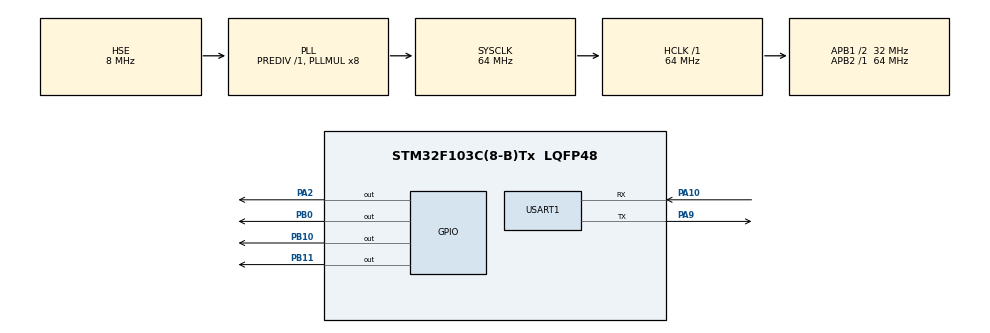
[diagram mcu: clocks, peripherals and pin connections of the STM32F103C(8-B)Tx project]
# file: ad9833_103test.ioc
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Mcu.Family=STM32F1
Mcu.Name=STM32F103C(8-B)Tx
Mcu.Package=LQFP48
NVIC.PriorityGroup=NVIC_PRIORITYGROUP_4
NVIC.USART1_IRQn=true\:0\:0\:false\:false\:true\:true\:true\:true
PA10.Mode=Asynchronous
PA10.Signal=USART1_RX
PA13.Mode=Serial_Wire
PA13.Signal=SYS_JTMS-SWDIO
PA14.Mode=Serial_Wire
PA14.Signal=SYS_JTCK-SWCLK
PA2.Signal=GPIO_Output
PA9.Mode=Asynchronous
PA9.Signal=USART1_TX
PB0.Signal=GPIO_Output
PB10.Signal=GPIO_Output
PB11.Signal=GPIO_Output
PD0-OSC_IN.Mode=HSE-External-Oscillator
PD0-OSC_IN.Signal=RCC_OSC_IN
PD1-OSC_OUT.Mode=HSE-External-Oscillator
PD1-OSC_OUT.Signal=RCC_OSC_OUT
ProjectManager.HeapSize=0x200
ProjectManager.StackSize=0x400
ProjectManager.TargetToolchain=MDK-ARM V5.32
RCC.AHBFreq_Value=64000000
RCC.APB1CLKDivider=RCC_HCLK_DIV2
RCC.APB1Freq_Value=32000000
RCC.APB1TimFreq_Value=64000000
RCC.APB2Freq_Value=64000000
RCC.APB2TimFreq_Value=64000000
RCC.HCLKFreq_Value=64000000
RCC.PLLMUL=RCC_PLL_MUL8
RCC.PLLSourceVirtual=RCC_PLLSOURCE_HSE
RCC.SYSCLKFreq_VALUE=64000000
RCC.SYSCLKSource=RCC_SYSCLKSOURCE_PLLCLK
RCC.USBFreq_Value=64000000
USART1.VirtualMode=VM_ASYNC
board=custom

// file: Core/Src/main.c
/* USER CODE BEGIN Header */
/**
 ******************************************************************************
 * @file           : main.c
 * @brief          : Main program body
 ******************************************************************************
 * @attention
 *
 * Copyright (c) 2023 STMicroelectronics.
 * All rights reserved.
 *
 * This software is licensed under terms that can be found in the LICENSE file
 * in the root directory of this software component.
 * If no LICENSE file comes with this software, it is provided AS-IS.
 *
 ******************************************************************************
 */
/* USER CODE END Header */
#include "main.h"
#include "usart.h"
#include "gpio.h"

/* USER CODE BEGIN Includes */
#include "stdio.h"
#include "ad9833.h"

/* USER CODE END Includes */

/* USER CODE BEGIN PM */
int fputc(int ch, FILE *f)

{

  HAL_UART_Transmit(&huart1, (uint8_t *)&ch, 1, 0xffff);

  return ch;
}

int fgetc(FILE *f)
{
  uint8_t ch = 0;
  HAL_UART_Receive(&huart1, &ch, 1, 0xffff);
  return ch;
}

/* USER CODE END PM */

/* USER CODE BEGIN PV */
uint32_t rx_data[10];
uint32_t buf[1];
int num = 0;
int flag = 0;
int i = 0;
uint32_t freq1, freq2, phase1, phase2, wave1, wave2, flag2;

/* USER CODE END PV */

void SystemClock_Config(void);

int main(void)
{

  /* MCU Configuration--------------------------------------------------------*/

  /* Reset of all peripherals, Initializes the Flash interface and the Systick. */
  HAL_Init();

  /* Configure the system clock */
  SystemClock_Config();

  /* Initialize all configured peripherals */
  MX_GPIO_Init();
  MX_USART1_UART_Init();
  /* USER CODE BEGIN 2 */
  // HAL_UART_Receive_IT(&huart1, (uint8_t *)buf, 1);
  /*******************************************************************************************************/
  // printf("10000\n");

  AD9833_WaveSeting_Double(10000, 10000, 0, SIN_WAVE, SIN_WAVE, 0, 1920);
  // AD9833_WaveSeting_Double(500000,0,SIN_WAVE,1030);
  /* USER CODE END 2 */

  /* Infinite loop */
  while (1)
  {

    /* USER CODE BEGIN 3 */
    // printf("test\r\n");
    /*
    if(flag == 1){
      freq = (rx_data[3]-48)* 1000000 + (rx_data[4]-48)* 100000 + (rx_data[5]-48)* 10000 + (rx_data[6]-48)* 1000 + (rx_data[7]-48)* 100 + (rx_data[8]-48)* 10 + (rx_data[9]-48)* 1;
      AD9833_WaveSeting_Double(500000,0,SIN_WAVE,1030);
      printf("9833,����!\r\n");
      printf("freq = %d\r\n", freq);
      for(int j = 0; j<100000 ; j++);
      HAL_UART_Receive_IT(&huart1, (uint8_t *)buf, 1);
      flag = 0;
    }*/

    /******************************************************************************************************/

    // printf("load\r\n");
    scanf("%d", &flag2);
    if (flag2 == 0xff)
    {
      scanf("%d", &freq1);
      scanf("%d", &freq2);
      scanf("%d", &wave1);
      scanf("%d", &wave2);
      scanf("%d", &phase1);
      scanf("%d", &phase2);
      AD9833_WaveSeting_Double(freq1, freq2, 0, wave1, wave2, phase1, phase2);
    }
    // printf("freq = %d", freq);
  }

  /* USER CODE END 3 */
}

void SystemClock_Config(void)
{
  RCC_OscInitTypeDef RCC_OscInitStruct = {0};
  RCC_ClkInitTypeDef RCC_ClkInitStruct = {0};

  /** Initializes the RCC Oscillators according to the specified parameters
   * in the RCC_OscInitTypeDef structure.
   */
  RCC_OscInitStruct.OscillatorType = RCC_OSCILLATORTYPE_HSE;
  RCC_OscInitStruct.HSEState = RCC_HSE_ON;
  RCC_OscInitStruct.HSEPredivValue = RCC_HSE_PREDIV_DIV1;
  RCC_OscInitStruct.HSIState = RCC_HSI_ON;
  RCC_OscInitStruct.PLL.PLLState = RCC_PLL_ON;
  RCC_OscInitStruct.PLL.PLLSource = RCC_PLLSOURCE_HSE;
  RCC_OscInitStruct.PLL.PLLMUL = RCC_PLL_MUL8;
  if (HAL_RCC_OscConfig(&RCC_OscInitStruct) != HAL_OK)
  {
    Error_Handler();
  }

  /** Initializes the CPU, AHB and APB buses clocks
   */
  RCC_ClkInitStruct.ClockType = RCC_CLOCKTYPE_HCLK | RCC_CLOCKTYPE_SYSCLK | RCC_CLOCKTYPE_PCLK1 | RCC_CLOCKTYPE_PCLK2;
  RCC_ClkInitStruct.SYSCLKSource = RCC_SYSCLKSOURCE_PLLCLK;
  RCC_ClkInitStruct.AHBCLKDivider = RCC_SYSCLK_DIV1;
  RCC_ClkInitStruct.APB1CLKDivider = RCC_HCLK_DIV2;
  RCC_ClkInitStruct.APB2CLKDivider = RCC_HCLK_DIV1;

  if (HAL_RCC_ClockConfig(&RCC_ClkInitStruct, FLASH_LATENCY_2) != HAL_OK)
  {
    Error_Handler();
  }
}

/* USER CODE BEGIN 4 */

void HAL_UART_RxCpltCallback(UART_HandleTypeDef *huart)
{
  // printf("num = %d", num);
  // rx_data[num++] = buf[0];
  // num = num%10;
  /*
  for(i=0;i<10;i++){
      printf("data[%d] = %d", i, rx_data[i]);
  }
  */
  /*
  printf("recieve num0 %d\r\n",rx_data[0] );
  printf("recieve num1 %d\r\n",rx_data[1] );
  printf("recieve num2 %d\r\n",rx_data[2] );*/
  /*
  if(num>0){
      HAL_UART_Receive_IT(&huart1, (uint8_t *)buf, 1);
      //HAL_UART_Receive_IT(&huart1, (uint8_t *)rx_data, 10);
  }
  else {
      flag = 1;
  }*/
}

/* USER CODE END 4 */

void Error_Handler(void)
{
  __disable_irq();
  while (1)
  {
  }
}
